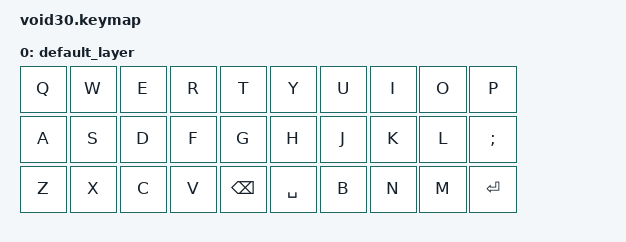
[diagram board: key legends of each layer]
#include <behaviors.dtsi>
#include <dt-bindings/zmk/keys.h>

/ {
    keymap {
        compatible = "zmk,keymap";

        default_layer {
// --------------------------------------------------------------------------------------------------------------------------------------------------------------------
// |    Q    |    W    |    E    |    R    |    T    |    Y    |    U    |    I    |    O    |    P    | 
// |    A    |    S    |    D    |    F    |    G    |    H    |    J    |    K    |    L    |    ;    |
// |    Z    |    X    |    C    |    V    |         |         |    B    |    N    |    M    |  RETURN |
            bindings = <
    &kp Q    &kp W    &kp E     &kp R     &kp T     &kp Y     &kp U     &kp I     &kp O     &kp P
    &kp A    &kp S    &kp D     &kp F     &kp G     &kp H     &kp J     &kp K     &kp L     &kp SEMI
    &kp Z    &kp X    &kp C     &kp V     &kp BSPC  &kp SPACE &kp B     &kp N     &kp M     &kp ENTER
            >;
        };
    };
};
